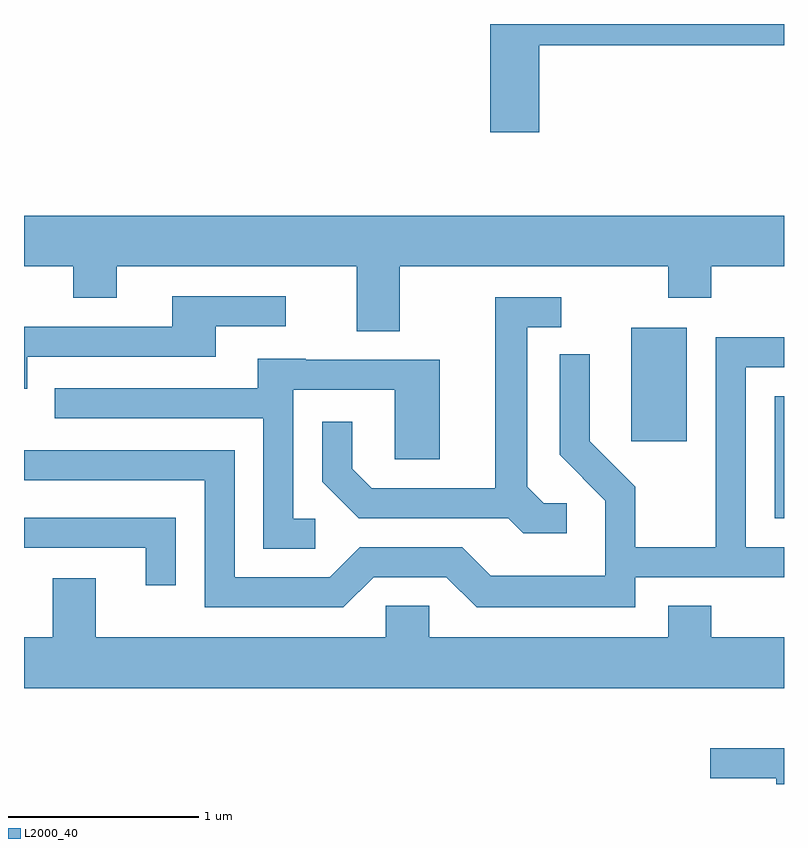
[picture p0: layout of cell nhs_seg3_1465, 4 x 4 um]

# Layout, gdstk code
import gdstk
lib = gdstk.Library(unit=1e-6, precision=1e-09)
def R(c, l, rs):  # rectangles x0, y0, x1, y1
    for r in rs: c.add(gdstk.rectangle(r[:2], r[2:], *l))
def P(c, l, *ps):  # polygons
    for p in ps: c.add(gdstk.Polygon(p, *l))
L2000_40 = (2000, 40)

nhs_seg3_1465 = lib.new_cell('nhs_seg3_1465')
R(nhs_seg3_1465, L2000_40, [(231.561,1191.291,231.611,1191.934), (230.806,1191.696,231.099,1192.294)])
P(nhs_seg3_1465, L2000_40, [(230.324,1193.781),(231.611,1193.781),(231.611,1193.892),(230.066,1193.892),(230.066,1193.321),(230.324,1193.321)],
  [(229.589,1192.616),(231.001,1192.616),(231.001,1192.451),(231.229,1192.451),(231.229,1192.616),(231.611,1192.616),(231.611,1192.884),(227.611,1192.884),(227.611,1192.616),(227.871,1192.616),(227.871,1192.451),(228.099,1192.451),(228.099,1192.616),(229.361,1192.616),(229.361,1192.276),(229.589,1192.276)],
  [(227.629,1192.141),(228.619,1192.141),(228.619,1192.301),(228.988,1192.301),(228.988,1192.459),(228.391,1192.459),(228.391,1192.299),(227.611,1192.299),(227.611,1191.971),(227.629,1191.971)],
  [(230.468,1191.369),(230.347,1191.369),(230.259,1191.457),(230.259,1192.296),(230.438,1192.296),(230.438,1192.454),(230.091,1192.454),(230.091,1191.449),(229.442,1191.449),(229.339,1191.552),(229.339,1191.798),(229.181,1191.798),(229.181,1191.484),(229.374,1191.291),(230.159,1191.291),(230.239,1191.211),(230.468,1191.211)],
  [(229.452,1190.981),(229.834,1190.981),(229.994,1190.821),(230.829,1190.821),(230.829,1190.981),(231.611,1190.981),(231.611,1191.139),(231.409,1191.139),(231.409,1192.086),(231.611,1192.086),(231.611,1192.244),(231.251,1192.244),(231.251,1191.139),(230.829,1191.139),(230.829,1191.457),(230.589,1191.697),(230.589,1192.153),(230.431,1192.153),(230.431,1191.624),(230.671,1191.384),(230.671,1190.989),(230.067,1190.989),(229.917,1191.139),(229.379,1191.139),(229.219,1190.979),(228.719,1190.979),(228.719,1191.649),(227.611,1191.649),(227.611,1191.491),(228.561,1191.491),(228.561,1190.821),(229.292,1190.821)],
  [(229.143,1191.289),(229.029,1191.289),(229.029,1191.966),(229.561,1191.966),(229.561,1191.601),(229.799,1191.601),(229.799,1192.124),(229.095,1192.124),(229.095,1192.129),(228.841,1192.129),(228.841,1191.974),(227.773,1191.974),(227.773,1191.816),(228.871,1191.816),(228.871,1191.131),(229.143,1191.131)],
  [(228.409,1191.294),(227.611,1191.294),(227.611,1191.136),(228.251,1191.136),(228.251,1190.938),(228.409,1190.938)],
  [(231.611,1190.664),(231.229,1190.664),(231.229,1190.829),(231.001,1190.829),(231.001,1190.664),(229.744,1190.664),(229.744,1190.829),(229.516,1190.829),(229.516,1190.664),(227.989,1190.664),(227.989,1190.974),(227.761,1190.974),(227.761,1190.664),(227.611,1190.664),(227.611,1190.396),(231.611,1190.396)],
  [(231.611,1190.079),(231.223,1190.079),(231.223,1189.921),(231.571,1189.921),(231.571,1189.892),(231.611,1189.892)])

lib.write_gds('nhs_seg3_1465.gds')
